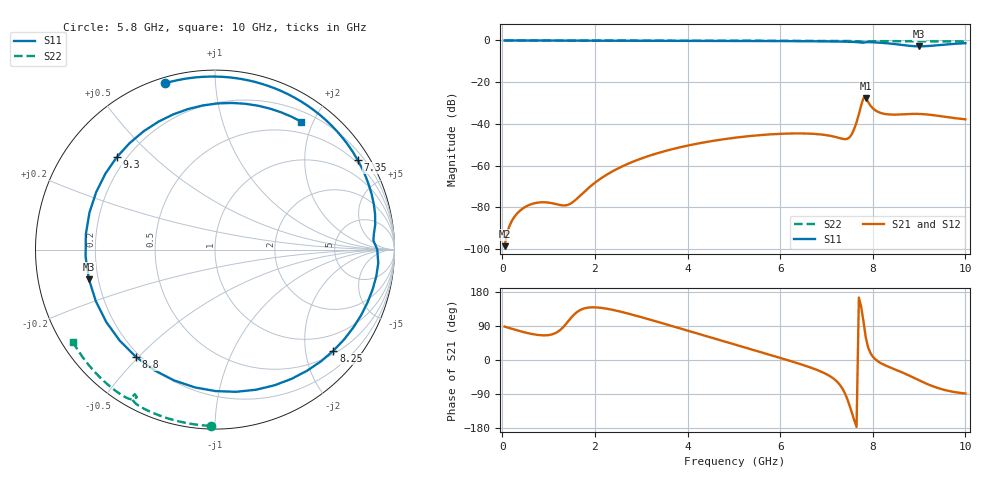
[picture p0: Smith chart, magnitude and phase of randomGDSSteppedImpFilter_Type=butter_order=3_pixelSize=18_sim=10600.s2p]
! freq	dB(S11)	phase(S11)	dB(S12)	phase(S12)
!  dB(S21)	phase(S21)	dB(S22)	phase(S22)
!S-par simulation data
#  GHz  S  DB  R 50
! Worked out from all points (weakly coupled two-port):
!   200 points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, 50 MHz to 10 GHz, reference 50 ohm
!   highest |S21| = -27.65 dB at 7.85 GHz (marker M1); lowest = -98.7 dB at 50 MHz (marker M2)
!   lowest |S11| = -2.8 dB at 9 GHz (marker M3), VSWR 6.19, Z = 8.19 - j5.62 ohm
!   |S11| at or under -10 dB: nowhere
!   |S22| runs from -0.7 to 0.0 dB; largest |S21 - S12| = 0
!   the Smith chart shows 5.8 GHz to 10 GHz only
!   S11 on the Smith chart (normalised r, x): 5.8 GHz: 0.03, +0.74; 7.35 GHz: 0.41, +3.42; 8.25 GHz: 0.57, -2.60; 8.8 GHz: 0.18, -0.49; 9.3 GHz: 0.16, +0.39; 10 GHz: 0.33, +1.83
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0.05  -0.00 -2.9  -98.69 88.2  -98.69 88.2  -0.00 -0.9
0.95  -0.07 -54.0  -77.68 65.2  -77.68 65.2  -0.02 -16.1
1.4  -0.09 -77.5  -78.97 98.7  -78.97 98.7  -0.03 -23.6
1.75  -0.11 -94.6  -73.01 135.3  -73.01 135.3  -0.04 -29.5
2.45  -0.13 -125.8  -61.96 130.5  -61.96 130.5  -0.05 -40.9
3.4  -0.16 -163.4  -53.78 99.1  -53.78 99.1  -0.07 -55.9
4.2  -0.20 167.1  -49.55 70.4  -49.55 70.4  -0.10 -68.2
5.05  -0.24 135.8  -46.59 39.8  -46.59 39.8  -0.12 -80.7
5.8  -0.29 106.6  -45.04 12.9  -45.04 12.9  -0.15 -91.5
6.7  -0.38 67.1  -44.78 -21.8  -44.78 -21.8  -0.20 -103.9
7.35  -0.55 32.2  -47.21 -76.5  -47.21 -76.5  -0.25 -112.9
7.55  -0.67 19.4  -44.86 -139.9  -44.86 -139.9  -0.28 -115.9
7.8  -1.07 3.3  -27.65 101.3  -27.65 101.3  -0.71 -119.0
7.85  -0.88 0.0  -27.65 59.0  -27.65 59.0  -0.63 -117.9
8.25  -1.23 -40.5  -35.22 -13.0  -35.22 -13.0  -0.33 -123.8
8.35  -1.43 -52.8  -35.50 -18.4  -35.50 -18.4  -0.33 -125.2
8.6  -2.07 -89.7  -35.49 -31.0  -35.49 -31.0  -0.35 -128.6
8.8  -2.58 -126.3  -35.27 -41.9  -35.27 -41.9  -0.37 -131.2
9  -2.83 -166.8  -35.25 -53.6  -35.25 -53.6  -0.39 -133.8
9.3  -2.48 136.8  -35.82 -69.4  -35.82 -69.4  -0.42 -137.7
9.6  -1.87 94.6  -36.75 -80.5  -36.75 -80.5  -0.45 -141.6
10  -1.32 56.1  -37.85 -88.4  -37.85 -88.4  -0.50 -146.8
